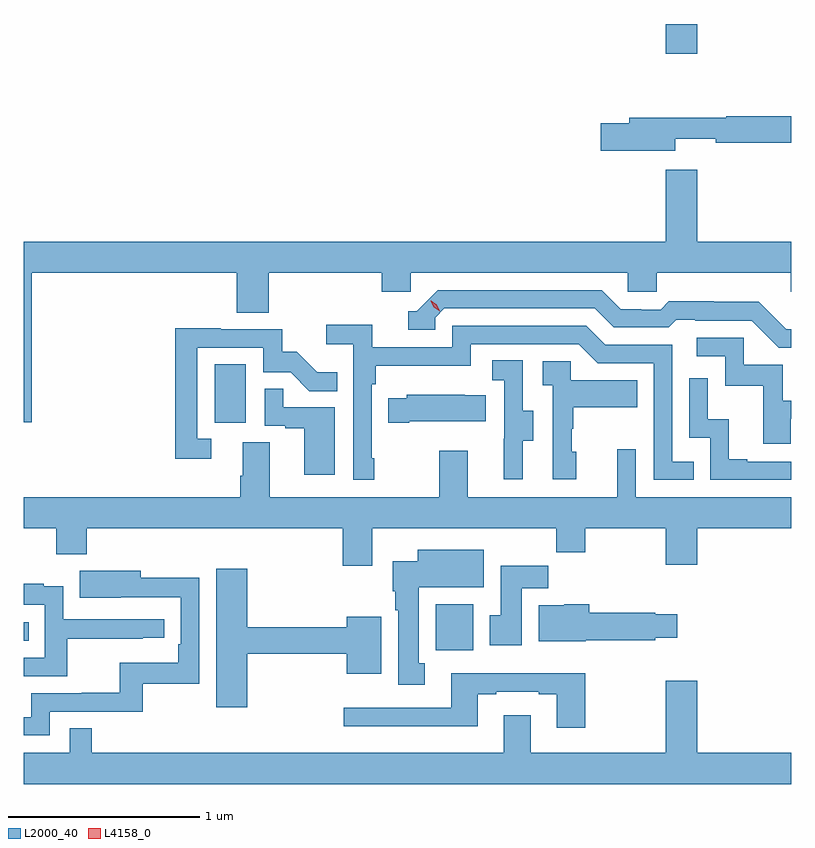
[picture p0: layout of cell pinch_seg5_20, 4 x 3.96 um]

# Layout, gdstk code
import gdstk
lib = gdstk.Library(unit=1e-6, precision=1e-09)
def R(c, l, rs):  # rectangles x0, y0, x1, y1
    for r in rs: c.add(gdstk.rectangle(r[:2], r[2:], *l))
def P(c, l, *ps):  # polygons
    for p in ps: c.add(gdstk.Polygon(p, *l))
L2000_40 = (2000, 40)
L4158_0 = (4158, 0)

pinch_seg5_20 = lib.new_cell('pinch_seg5_20')
R(pinch_seg5_20, L2000_40, [(1122.848,904.076,1123.045,904.318), (1120.702,904.128,1120.727,904.224), (1121.696,905.262,1121.86,905.569), (1124.048,907.188,1124.212,907.342)])
P(pinch_seg5_20, L2000_40, [(1124.098,906.743),(1124.308,906.743),(1124.308,906.724),(1124.702,906.724),(1124.702,906.86),(1124.363,906.86),(1124.363,906.853),(1123.859,906.853),(1123.859,906.824),(1123.71,906.824),(1123.71,906.682),(1124.098,906.682)],
  [(1120.742,906.044),(1121.813,906.044),(1121.813,905.836),(1121.978,905.836),(1121.978,906.044),(1122.569,906.044),(1122.569,905.946),(1122.72,905.946),(1122.72,906.044),(1123.851,906.044),(1123.851,905.946),(1124.001,905.946),(1124.001,906.044),(1124.699,906.044),(1124.699,905.946),(1124.702,905.946),(1124.702,906.208),(1124.212,906.208),(1124.212,906.583),(1124.048,906.583),(1124.048,906.208),(1120.702,906.208),(1120.702,905.265),(1120.742,905.265)],
  [(1124.702,905.751),(1124.676,905.751),(1124.534,905.893),(1124.298,905.893),(1124.298,905.896),(1124.065,905.896),(1124.023,905.853),(1123.92,905.853),(1123.92,905.856),(1123.813,905.856),(1123.714,905.955),(1122.861,905.955),(1122.75,905.844),(1122.707,905.844),(1122.707,905.748),(1122.846,905.748),(1122.846,905.811),(1122.894,905.859),(1123.677,905.859),(1123.776,905.76),(1124.065,905.76),(1124.104,905.799),(1124.203,905.799),(1124.203,905.796),(1124.496,905.796),(1124.637,905.655),(1124.702,905.655)],
  [(1122.529,905.077),(1122.516,905.077),(1122.516,905.465),(1122.536,905.465),(1122.536,905.561),(1123.032,905.561),(1123.032,905.673),(1123.596,905.673),(1123.695,905.574),(1123.986,905.574),(1123.986,904.965),(1124.195,904.965),(1124.195,905.061),(1124.082,905.061),(1124.082,905.67),(1123.732,905.67),(1123.633,905.769),(1122.936,905.769),(1122.936,905.658),(1122.518,905.658),(1122.518,905.774),(1122.279,905.774),(1122.279,905.672),(1122.42,905.672),(1122.42,904.965),(1122.529,904.965)],
  [(1121.68,905.181),(1121.607,905.181),(1121.607,905.655),(1121.949,905.655),(1121.949,905.526),(1122.093,905.526),(1122.191,905.428),(1122.335,905.428),(1122.335,905.527),(1122.231,905.527),(1122.124,905.634),(1122.048,905.634),(1122.048,905.751),(1121.729,905.751),(1121.729,905.756),(1121.491,905.756),(1121.491,905.076),(1121.68,905.076)],
  [(1124.701,905.283),(1124.702,905.283),(1124.702,905.379),(1124.659,905.379),(1124.659,905.565),(1124.454,905.565),(1124.454,905.706),(1124.211,905.706),(1124.211,905.61),(1124.358,905.61),(1124.358,905.457),(1124.557,905.457),(1124.557,905.154),(1124.701,905.154)],
  [(1123.303,905.17),(1123.357,905.17),(1123.357,905.325),(1123.302,905.325),(1123.302,905.588),(1123.143,905.588),(1123.143,905.485),(1123.206,905.485),(1123.206,905.181),(1123.205,905.181),(1123.205,904.968),(1123.303,904.968)],
  [(1123.582,905.112),(1123.557,905.112),(1123.557,905.231),(1123.567,905.231),(1123.567,905.345),(1123.901,905.345),(1123.901,905.485),(1123.554,905.485),(1123.554,905.583),(1123.407,905.583),(1123.407,905.459),(1123.458,905.459),(1123.458,904.968),(1123.582,904.968)],
  [(1124.702,905.061),(1124.473,905.061),(1124.473,905.074),(1124.378,905.074),(1124.378,905.282),(1124.268,905.282),(1124.268,905.494),(1124.172,905.494),(1124.172,905.184),(1124.28,905.184),(1124.28,904.965),(1124.702,904.965)],
  [(1122.322,905.343),(1122.053,905.343),(1122.053,905.441),(1121.958,905.441),(1121.958,905.247),(1122.065,905.247),(1122.065,905.235),(1122.164,905.235),(1122.164,904.992),(1122.322,904.992)],
  [(1122.712,905.27),(1123.109,905.27),(1123.109,905.407),(1123.001,905.407),(1123.001,905.41),(1122.699,905.41),(1122.699,905.392),(1122.601,905.392),(1122.601,905.263),(1122.712,905.263)],
  [(1121.843,905.162),(1121.843,904.988),(1121.831,904.988),(1121.831,904.876),(1120.702,904.876),(1120.702,904.712),(1120.87,904.712),(1120.87,904.577),(1121.03,904.577),(1121.03,904.712),(1122.365,904.712),(1122.365,904.518),(1122.517,904.518),(1122.517,904.712),(1123.477,904.712),(1123.477,904.588),(1123.629,904.588),(1123.629,904.712),(1124.048,904.712),(1124.048,904.524),(1124.212,904.524),(1124.212,904.712),(1124.702,904.712),(1124.702,904.876),(1123.893,904.876),(1123.893,905.125),(1123.796,905.125),(1123.796,904.876),(1123.015,904.876),(1123.015,905.116),(1122.868,905.116),(1122.868,904.876),(1121.983,904.876),(1121.983,905.162)],
  [(1122.793,904.01),(1122.76,904.01),(1122.76,904.406),(1123.099,904.406),(1123.099,904.6),(1122.755,904.6),(1122.755,904.54),(1122.626,904.54),(1122.626,904.386),(1122.638,904.386),(1122.638,904.286),(1122.653,904.286),(1122.653,903.897),(1122.793,903.897)],
  [(1123.297,904.4),(1123.436,904.4),(1123.436,904.518),(1123.187,904.518),(1123.187,904.26),(1123.13,904.26),(1123.13,904.104),(1123.297,904.104)],
  [(1121.866,904.06),(1122.386,904.06),(1122.386,903.956),(1122.565,903.956),(1122.565,904.252),(1122.386,904.252),(1122.386,904.196),(1121.866,904.196),(1121.866,904.501),(1121.705,904.501),(1121.705,903.78),(1121.866,903.78)],
  [(1120.836,903.756),(1121.323,903.756),(1121.323,903.903),(1121.616,903.903),(1121.616,904.454),(1121.311,904.454),(1121.311,904.492),(1120.993,904.492),(1120.993,904.352),(1121.207,904.352),(1121.207,904.353),(1121.52,904.353),(1121.52,904.108),(1121.507,904.108),(1121.507,904.012),(1121.202,904.012),(1121.202,903.857),(1121.005,903.857),(1121.005,903.852),(1120.74,903.852),(1120.74,903.729),(1120.702,903.729),(1120.702,903.633),(1120.836,903.633)],
  [(1120.928,904.138),(1121.321,904.138),(1121.321,904.143),(1121.434,904.143),(1121.434,904.239),(1120.908,904.239),(1120.908,904.411),(1120.805,904.411),(1120.805,904.423),(1120.702,904.423),(1120.702,904.314),(1120.812,904.314),(1120.812,904.038),(1120.702,904.038),(1120.702,903.942),(1120.928,903.942)],
  [(1123.632,904.13),(1123.994,904.13),(1123.994,904.142),(1124.107,904.142),(1124.107,904.264),(1123.994,904.264),(1123.994,904.272),(1123.649,904.272),(1123.649,904.318),(1123.518,904.318),(1123.518,904.312),(1123.385,904.312),(1123.385,904.124),(1123.632,904.124)],
  [(1123.629,903.958),(1122.929,903.958),(1122.929,903.777),(1122.369,903.777),(1122.369,903.68),(1123.069,903.68),(1123.069,903.849),(1123.165,903.849),(1123.165,903.861),(1123.385,903.861),(1123.385,903.849),(1123.481,903.849),(1123.481,903.672),(1123.629,903.672)],
  [(1124.702,903.544),(1124.212,903.544),(1124.212,903.919),(1124.048,903.919),(1124.048,903.544),(1123.345,903.544),(1123.345,903.739),(1123.205,903.739),(1123.205,903.544),(1121.057,903.544),(1121.057,903.671),(1120.941,903.671),(1120.941,903.544),(1120.702,903.544),(1120.702,903.38),(1124.702,903.38)])
P(pinch_seg5_20, L4158_0, [(1122.87,905.845),(1122.84,905.865),(1122.824,905.898),(1122.824,905.898),(1122.825,905.898),(1122.855,905.878),(1122.87,905.846),(1122.87,905.845)])

lib.write_gds('pinch_seg5_20.gds')
